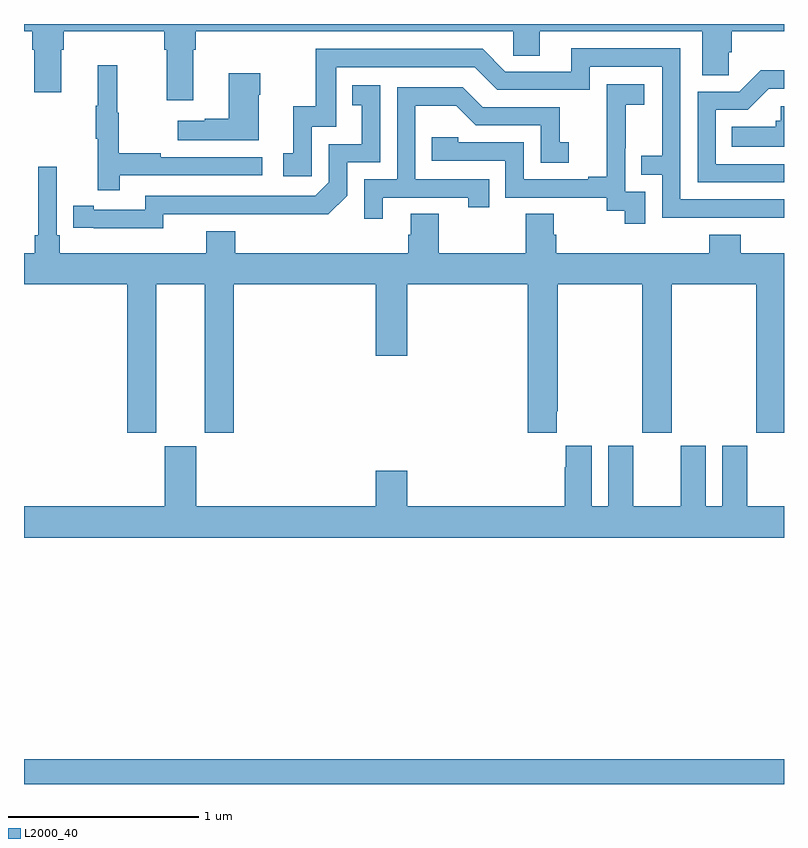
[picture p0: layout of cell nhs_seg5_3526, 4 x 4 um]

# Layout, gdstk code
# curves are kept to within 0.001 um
import gdstk
lib = gdstk.Library(unit=1e-6, precision=1e-09)
def R(c, l, rs):  # rectangles x0, y0, x1, y1
    for r in rs: c.add(gdstk.rectangle(r[:2], r[2:], *l))
def P(c, l, *ps):  # polygons
    for p in ps: c.add(gdstk.Polygon(p, *l))
L2000_40 = (2000, 40)

nhs_seg5_3526 = lib.new_cell('nhs_seg5_3526')
R(nhs_seg5_3526, L2000_40, [(319,852.799,323,852.928)])
P(nhs_seg5_3526, L2000_40, [(319.891,856.664),(319.904,856.664),(319.904,856.76),(321.576,856.76),(321.576,856.633),(321.715,856.633),(321.715,856.76),(322.571,856.76),(322.571,856.528),(322.71,856.528),(322.71,856.651),(322.724,856.651),(322.724,856.76),(323,856.76),(323,856.799),(319,856.799),(319,856.76),(319.043,856.76),(319.043,856.664),(319.055,856.664),(319.055,856.44),(319.195,856.44),(319.195,856.664),(319.208,856.664),(319.208,856.76),(319.739,856.76),(319.739,856.664),(319.751,856.664),(319.751,856.398),(319.891,856.398)],
  [(323,855.876),(322.455,855.876),(322.455,856.671),(321.881,856.671),(321.881,856.548),(321.534,856.548),(321.414,856.668),(320.535,856.668),(320.535,856.366),(320.417,856.366),(320.417,856.119),(320.364,856.119),(320.364,855.999),(320.514,855.999),(320.514,856.257),(320.643,856.257),(320.643,856.572),(321.372,856.572),(321.492,856.452),(321.978,856.452),(321.978,856.575),(322.359,856.575),(322.359,856.106),(322.249,856.106),(322.249,856.005),(322.359,856.005),(322.359,855.78),(323,855.779)],
  [(319.505,856.002),(320.254,856.002),(320.254,856.098),(319.721,856.098),(319.721,856.118),(319.498,856.118),(319.498,856.332),(319.49,856.332),(319.49,856.582),(319.388,856.582),(319.388,856.369),(319.377,856.369),(319.377,856.195),(319.388,856.195),(319.388,855.924),(319.505,855.924)],
  [(323,856.062),(322.641,856.062),(322.641,856.347),(322.81,856.347),(322.921,856.458),(323,856.458),(323,856.556),(322.877,856.556),(322.764,856.443),(322.545,856.443),(322.545,855.966),(323,855.966)],
  [(320.236,856.427),(320.244,856.427),(320.244,856.54),(320.078,856.54),(320.078,856.301),(319.952,856.301),(319.952,856.291),(319.809,856.291),(319.809,856.187),(320.236,856.187)],
  [(322.269,855.915),(322.164,855.915),(322.164,856.145),(322.166,856.145),(322.166,856.373),(322.264,856.373),(322.264,856.483),(322.066,856.483),(322.066,856.277),(322.067,856.277),(322.067,855.994),(321.971,855.994),(321.971,855.981),(321.63,855.981),(321.63,856.176),(321.285,856.176),(321.285,856.203),(321.145,856.203),(321.145,856.08),(321.534,856.08),(321.534,855.885),(322.068,855.885),(322.068,855.817),(322.161,855.817),(322.161,855.747),(322.269,855.747)],
  [(319.734,855.798),(320.602,855.797),(320.7,855.894),(320.7,856.071),(320.874,856.071),(320.874,856.477),(320.728,856.477),(320.728,856.371),(320.777,856.371),(320.777,856.167),(320.604,856.167),(320.604,855.966),(320.532,855.894),(319.638,855.894),(319.638,855.822),(319.366,855.822),(319.366,855.842),(319.258,855.842),(319.258,855.726),(319.734,855.725)],
  [(320.887,855.885),(321.338,855.885),(321.338,855.834),(321.449,855.834),(321.449,855.981),(321.06,855.981),(321.06,856.37),(321.274,856.37),(321.378,856.266),(321.72,856.266),(321.72,856.068),(321.868,856.068),(321.868,856.177),(321.819,856.177),(321.819,856.362),(321.415,856.362),(321.31,856.467),(320.964,856.467),(320.964,855.981),(320.79,855.981),(320.79,855.774),(320.887,855.774)],
  [(323,856.366),(322.983,856.366),(322.983,856.29),(322.957,856.29),(322.957,856.258),(322.726,856.258),(322.726,856.154),(323,856.154)],
  [(319.696,855.428),(319.952,855.428),(319.952,854.649),(320.105,854.649),(320.105,855.428),(320.852,855.428),(320.852,855.054),(321.016,855.054),(321.016,855.428),(321.65,855.428),(321.65,854.649),(321.805,854.649),(321.805,854.761),(321.81,854.761),(321.81,855.428),(322.255,855.428),(322.255,854.649),(322.41,854.649),(322.41,855.428),(322.855,855.428),(322.855,854.649),(323,854.649),(323,855.592),(322.772,855.592),(322.772,855.691),(322.607,855.691),(322.607,855.592),(321.8,855.592),(321.8,855.69),(321.787,855.69),(321.787,855.8),(321.64,855.8),(321.64,855.592),(321.183,855.592),(321.183,855.8),(321.035,855.8),(321.035,855.69),(321.023,855.69),(321.023,855.592),(320.111,855.592),(320.111,855.709),(319.958,855.709),(319.958,855.592),(319.187,855.592),(319.187,855.688),(319.173,855.688),(319.173,856.048),(319.076,856.048),(319.076,855.688),(319.057,855.688),(319.057,855.592),(319,855.592),(319,855.428),(319.544,855.428),(319.544,854.649),(319.696,854.649)],
  [(323,854.26),(322.807,854.26),(322.807,854.578),(322.676,854.578),(322.676,854.26),(322.588,854.26),(322.588,854.578),(322.457,854.578),(322.457,854.26),(322.207,854.26),(322.207,854.578),(322.076,854.578),(322.076,854.26),(321.988,854.26),(321.988,854.578),(321.851,854.578),(321.851,854.465),(321.845,854.465),(321.845,854.26),(321.016,854.26),(321.016,854.449),(320.852,854.449),(320.852,854.26),(319.906,854.26),(319.906,854.577),(319.742,854.577),(319.742,854.26),(319,854.26),(319,854.096),(323,854.096)])

lib.write_gds('nhs_seg5_3526.gds')
